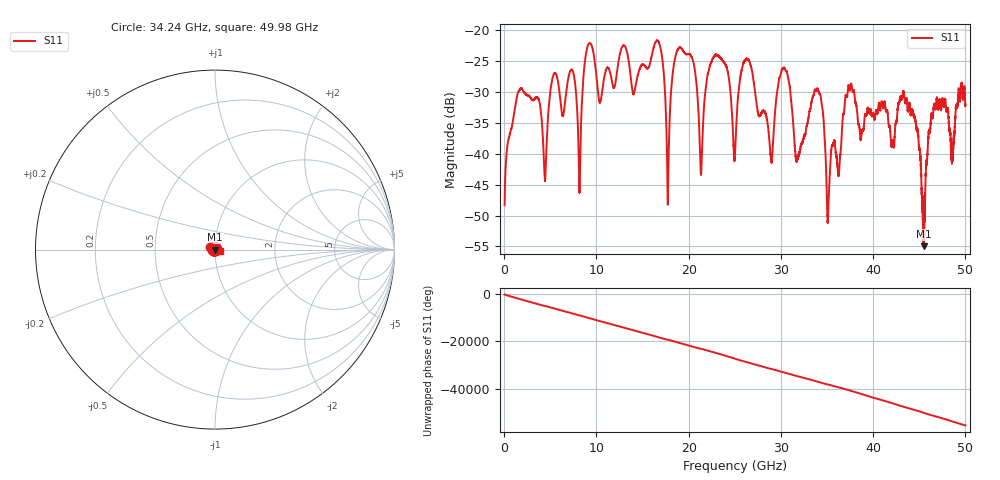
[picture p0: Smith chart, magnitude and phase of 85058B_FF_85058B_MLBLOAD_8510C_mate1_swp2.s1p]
!Created with skrf (http://scikit-rf.org).
# Hz S RI R 50.0
!freq ReS11 ImS11
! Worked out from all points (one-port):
!   10001 points, 45 MHz to 50 GHz, reference 50 ohm
!   lowest |S11| = -55.0 dB at 45.47 GHz (marker M1), VSWR 1.00, Z = 50.1 - j0.128 ohm
!   |S11| at or under -10 dB: start of sweep to end of sweep
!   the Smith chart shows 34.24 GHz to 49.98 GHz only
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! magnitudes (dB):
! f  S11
! 45 MHz  -48.3
! 1.669 GHz  -29.7
! 4.401 GHz  -44.0
! 5.32 GHz  -27.3
! 6.289 GHz  -33.8
! 7.403 GHz  -26.5
! 8.163 GHz  -46.2
! 9.117 GHz  -22.3
! 10.39 GHz  -31.6
! 12.53 GHz  -23.9
! 16.73 GHz  -21.8
! 17.75 GHz  -47.5
! 18.78 GHz  -23.2
! 20.49 GHz  -25.1
! 21.33 GHz  -43.4
! 22.98 GHz  -23.9
! 25.02 GHz  -39.8
! 26.26 GHz  -24.5
! 28.92 GHz  -41.0
! 30.19 GHz  -26.2
! 31.27 GHz  -33.8
! 34.11 GHz  -30.0
! 35.13 GHz  -49.5
! 37.51 GHz  -29.4
! 43.76 GHz  -33.1
! 45.47 GHz  -55.0
! 46.74 GHz  -32.8
! 50 GHz  -32.0
